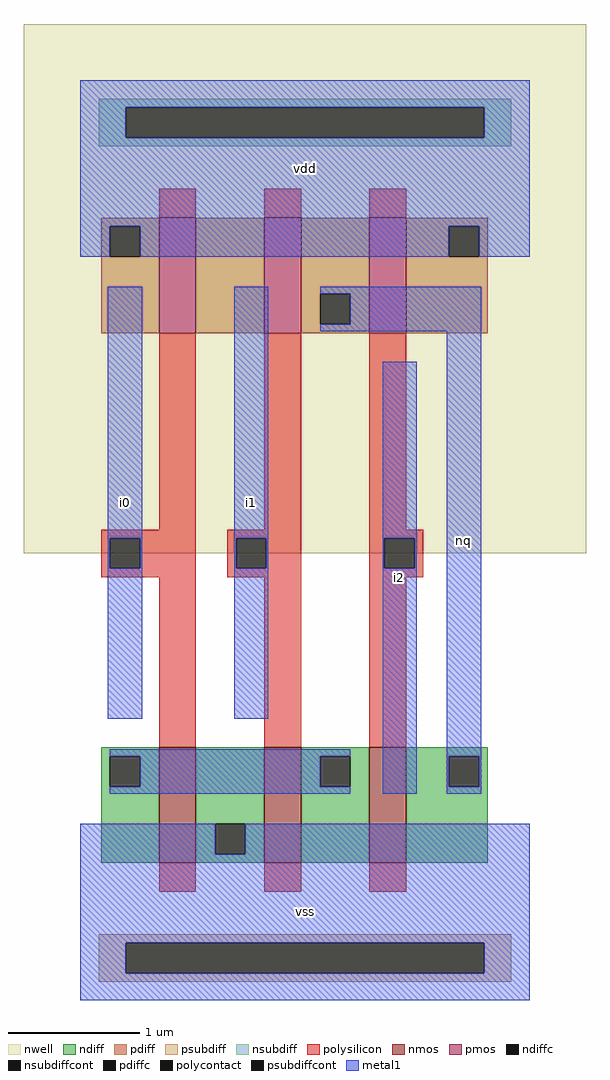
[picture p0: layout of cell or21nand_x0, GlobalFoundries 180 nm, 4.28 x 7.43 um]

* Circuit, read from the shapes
.subckt or21nand_x0 vdd vss i0 i1 nq i2
XM1 vss i0 n1 vss nfet_03v3 w=0.88u l=0.28u
XM2 n1 i1 vss vss nfet_03v3 w=0.88u l=0.28u
XM3 nq i2 n1 vss nfet_03v3 w=0.88u l=0.28u
XM4 n2 i0 vdd vdd pfet_03v3 w=0.88u l=0.28u
XM5 nq i1 n2 vdd pfet_03v3 w=0.88u l=0.28u
XM6 vdd i2 nq vdd pfet_03v3 w=0.88u l=0.28u
.ends

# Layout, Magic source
magic
tech gf180mcuD
magscale 1 10
<< nwell >>
rect -86 680 770 1486
<< nmos >>
rect 120 209 176 385
rect 280 209 336 385
rect 440 209 496 385
<< pmos >>
rect 120 1015 176 1191
rect 280 1015 336 1191
rect 440 1015 496 1191
<< ndiff >>
rect 32 371 120 385
rect 32 325 45 371
rect 91 325 120 371
rect 32 209 120 325
rect 176 268 280 385
rect 176 222 205 268
rect 251 222 280 268
rect 176 209 280 222
rect 336 371 440 385
rect 336 325 365 371
rect 411 325 440 371
rect 336 209 440 325
rect 496 371 620 385
rect 496 325 561 371
rect 607 325 620 371
rect 496 209 620 325
<< pdiff >>
rect 32 1178 120 1191
rect 32 1132 45 1178
rect 91 1132 120 1178
rect 32 1015 120 1132
rect 176 1015 280 1191
rect 336 1075 440 1191
rect 336 1029 365 1075
rect 411 1029 440 1075
rect 336 1015 440 1029
rect 496 1178 620 1191
rect 496 1132 561 1178
rect 607 1132 620 1178
rect 496 1015 620 1132
<< ndiffc >>
rect 45 325 91 371
rect 205 222 251 268
rect 365 325 411 371
rect 561 325 607 371
<< pdiffc >>
rect 45 1132 91 1178
rect 365 1029 411 1075
rect 561 1132 607 1178
<< psubdiff >>
rect 28 87 656 100
rect 28 41 69 87
rect 615 41 656 87
rect 28 28 656 41
<< nsubdiff >>
rect 28 1359 656 1372
rect 28 1313 69 1359
rect 615 1313 656 1359
rect 28 1300 656 1313
<< psubdiffcont >>
rect 69 41 615 87
<< nsubdiffcont >>
rect 69 1313 615 1359
<< polysilicon >>
rect 120 1191 176 1235
rect 280 1191 336 1235
rect 440 1191 496 1235
rect 120 716 176 1015
rect 280 716 336 1015
rect 32 703 176 716
rect 32 657 45 703
rect 91 657 176 703
rect 32 644 176 657
rect 224 703 336 716
rect 224 657 237 703
rect 283 657 336 703
rect 224 644 336 657
rect 120 385 176 644
rect 280 385 336 644
rect 440 716 496 1015
rect 440 703 522 716
rect 440 657 463 703
rect 509 657 522 703
rect 440 644 522 657
rect 440 385 496 644
rect 120 165 176 209
rect 280 165 336 209
rect 440 165 496 209
<< polycontact >>
rect 45 657 91 703
rect 237 657 283 703
rect 463 657 509 703
<< metal1 >>
rect 0 1359 684 1400
rect 0 1313 69 1359
rect 615 1313 684 1359
rect 0 1178 684 1313
rect 0 1132 45 1178
rect 91 1132 561 1178
rect 607 1132 684 1178
rect 42 703 94 1086
rect 42 657 45 703
rect 91 657 94 703
rect 42 428 94 657
rect 234 703 286 1086
rect 365 1075 610 1086
rect 411 1029 610 1075
rect 365 1018 610 1029
rect 234 657 237 703
rect 283 657 286 703
rect 234 428 286 657
rect 460 703 512 972
rect 460 657 463 703
rect 509 657 512 703
rect 45 371 411 382
rect 91 325 365 371
rect 45 314 411 325
rect 460 314 512 657
rect 558 371 610 1018
rect 558 325 561 371
rect 607 325 610 371
rect 558 314 610 325
rect 0 222 205 268
rect 251 222 684 268
rect 0 87 684 222
rect 0 41 69 87
rect 615 41 684 87
rect 0 0 684 41
<< labels >>
rlabel metal1 s 0 1132 684 1400 4 vdd
port 3 nsew
rlabel metal1 s 0 0 684 268 4 vss
port 5 nsew
rlabel metal1 s 42 428 94 1086 4 i0
port 7 nsew
rlabel metal1 s 234 428 286 1086 4 i1
port 9 nsew
rlabel metal1 s 558 314 610 1086 4 nq
port 11 nsew
rlabel metal1 s 460 314 512 972 4 i2
port 13 nsew
<< end >>
